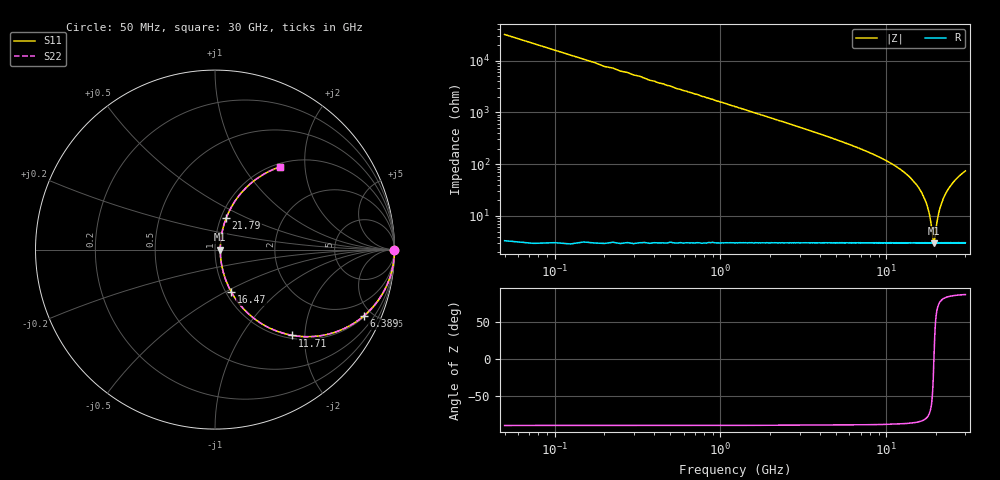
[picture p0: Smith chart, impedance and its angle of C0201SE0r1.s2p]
!	AVX Thin Film Operation 	Date: April 2014
!	Description: Accu-P® Series, Thin Film  SMD RF Capacitor
!	Part Number: 02011J0R1ZBSTR
# MHZ S MA R 50
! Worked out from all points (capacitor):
!   1201 points, 50 MHz to 30 GHz, reference 50 ohm
!   read as one part in series: C = 101 fF near 199.8 MHz
!   lowest |Z| = 2.99 ohm at 19.37 GHz (marker M1)
!   series resonance near 19.38 GHz, so ESL is about 670 pH
!   S11 on the Smith chart (normalised r, x): 50 MHz: open; 6.389 GHz: 1.06, -4.44; 11.71 GHz: 1.06, -1.73; 16.47 GHz: 1.06, -0.54; 21.79 GHz: 1.06, +0.39; 30 GHz: 1.06, +1.48
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50  1 -0.2  0.003142 89.8  0.003142 89.8  1 -0.2
274.625  1 -1.0  0.017 89.0  0.017 89.0  1 -1.0
449.333  1 -1.6  0.028 88.3  0.028 88.3  1 -1.6
748.833  0.999 -2.7  0.047 87.2  0.047 87.2  0.999 -2.7
1198.083  0.997 -4.3  0.075 85.5  0.075 85.5  0.997 -4.3
1847  0.993 -6.7  0.116 83.1  0.116 83.1  0.993 -6.7
2695.583  0.985 -9.8  0.17 79.9  0.17 79.9  0.985 -9.8
5041.667  0.944 -18.7  0.321 70.7  0.321 70.7  0.944 -18.7
6389.417  0.907 -24.1  0.409 65.1  0.409 65.1  0.907 -24.1
10058.29  0.747 -40.2  0.646 48.3  0.646 48.3  0.747 -40.2
11705.54  0.643 -48.0  0.744 40.0  0.744 40.0  0.643 -48.0
15025  0.38 -63.6  0.898 22.3  0.898 22.3  0.38 -63.6
16472.58  0.253 -69.0  0.939 14.6  0.939 14.6  0.253 -69.0
18020  0.119 -69.1  0.964 6.6  0.964 6.6  0.119 -69.1
19367.75  0.029 -1.9  0.971 0.1  0.971 0.1  0.029 -1.9
19567.42  0.033 26.6  0.97 -0.9  0.97 -0.9  0.033 26.6
20016.67  0.059 57.3  0.969 -2.9  0.969 -2.9  0.059 57.3
20715.5  0.11 68.4  0.965 -6.1  0.965 -6.1  0.11 68.4
21788.71  0.186 70.5  0.954 -10.6  0.954 -10.6  0.186 70.5
23211.33  0.279 68.1  0.932 -16.1  0.932 -16.1  0.279 68.1
25033.29  0.382 63.5  0.897 -22.4  0.897 -22.4  0.382 63.5
30000  0.584 51.9  0.788 -35.7  0.788 -35.7  0.584 51.9
